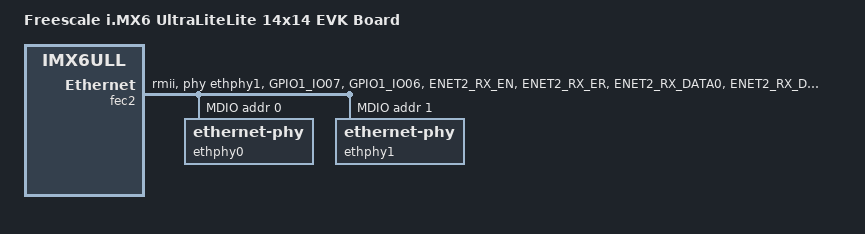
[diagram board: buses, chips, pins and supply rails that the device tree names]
// SPDX-License-Identifier: (GPL-2.0 OR MIT)
//
// Copyright (C) 2016 Freescale Semiconductor, Inc.

/dts-v1/;

#include "imx6ull.dtsi"
#include "imx6ul-14x14-evk.dtsi"

/ {
	model = "Freescale i.MX6 UltraLiteLite 14x14 EVK Board";
	compatible = "fsl,imx6ull-14x14-evk", "fsl,imx6ull";
};

&clks {
	assigned-clocks = <&clks IMX6UL_CLK_PLL3_PFD2>;
	assigned-clock-rates = <320000000>;
};
&fec2 {
	pinctrl-names = "default";
	pinctrl-0 = <&pinctrl_enet2>;
	phy-mode = "rmii";
	phy-handle = <&ethphy1>;
	status = "okay";

	mdio {
		#address-cells = <1>;
		#size-cells = <0>;

		ethphy0: ethernet-phy@0 {
			reg = <0>;
			micrel,led-mode = <1>;
			clocks = <&clks IMX6UL_CLK_ENET_REF>;
			clock-names = "rmii-ref";
		};

		ethphy1: ethernet-phy@1 {
			reg = <1>;
			micrel,led-mode = <1>;
			clocks = <&clks IMX6UL_CLK_ENET2_REF>;
			clock-names = "rmii-ref";
		};
	};
};
&iomuxc{
	pinctrl_enet2: enet2grp {
		fsl,pins = <
			MX6_PAD_GPIO1_IO07__ENET2_MDC			0x1b0b0
			MX6_PAD_GPIO1_IO06__ENET2_MDIO			0x1b0b0
			MX6_PAD_ENET2_RX_EN__ENET2_RX_EN		0x1b0b0
			MX6_PAD_ENET2_RX_ER__ENET2_RX_ER		0x1b0b0
			MX6_PAD_ENET2_RX_DATA0__ENET2_RDATA00	0x1b0b0
			MX6_PAD_ENET2_RX_DATA1__ENET2_RDATA01	0x1b0b0
			MX6_PAD_ENET2_TX_EN__ENET2_TX_EN		0x1b010
			MX6_PAD_ENET2_TX_DATA0__ENET2_TDATA00	0x1b010
			MX6_PAD_ENET2_TX_DATA1__ENET2_TDATA01	0x1b010
			MX6_PAD_ENET2_TX_CLK__ENET2_REF_CLK2	0x4001b010
		>;
	};

};

